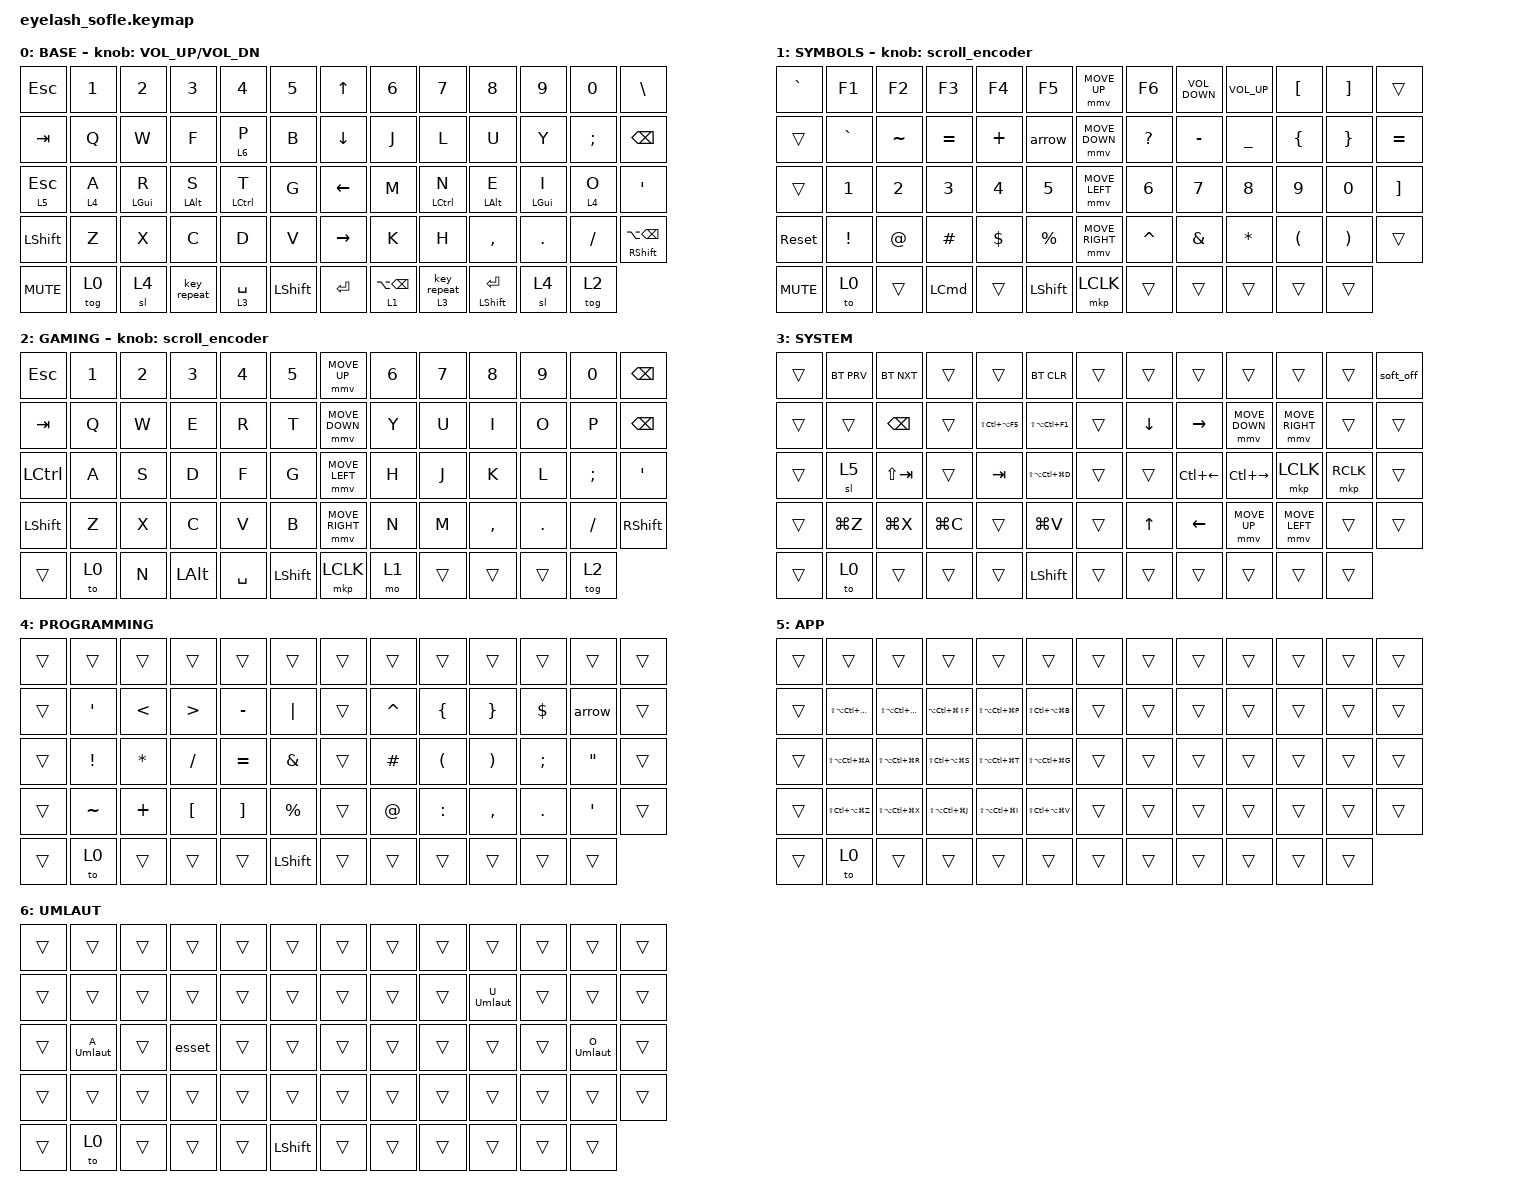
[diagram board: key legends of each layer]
#define ZMK_POINTING_DEFAULT_MOVE_VAL 1200  // 600
#define ZMK_POINTING_DEFAULT_SCRL_VAL 25   // 10

#include <input/processors.dtsi>
#include <zephyr/dt-bindings/input/input-event-codes.h>
#include <behaviors/unicode.dtsi>
#include <behaviors.dtsi>
#include <dt-bindings/zmk/bt.h>
#include <dt-bindings/zmk/keys.h>
#include <dt-bindings/zmk/pointing.h>

&mmv_input_listener { input-processors = <&zip_xy_scaler 2 1>; };

&msc_input_listener { input-processors = <&zip_scroll_scaler 2 1>; };

&msc {
    acceleration-exponent = <1>;      // 0
    time-to-max-speed-ms = <100>;       // 300
    delay-ms = <0>;                   // 0
};

&mmv {
    time-to-max-speed-ms = <500>;
    acceleration-exponent = <1>;
    trigger-period-ms = <16>;
};

&uc {
    default-mode = <UC_MODE_MACOS>;  // Replace with desired input system.
    minimum-length = <4>;
};

/ {
    scroll_encoder: scroll_encoder {
        compatible = "zmk,behavior-sensor-rotate";
        #sensor-binding-cells = <0>;
        bindings = <&msc SCRL_DOWN>, <&msc SCRL_UP>;

        tap-ms = <100>;
    };

    homerowshiftright: homerowshiftright {
        compatible = "zmk,behavior-hold-tap";
        label = "HOMEROWSHIFTRIGHT";
        bindings = <&kp>, <&kp>;

        #binding-cells = <2>;
        tapping-term-ms = <200>;
        hold-while-undecided;
        hold-trigger-key-positions = <0 1 2 3 4 5 0 1 13 14 15 16 17 18 13 14 26 27 28 29 30 31 39 40 41 42 43 44 53 54 55 56 57>;
        hold-trigger-on-release;
        flavor = "balanced";
    };

    homerowshiftleft: homerowshiftleft {
        compatible = "zmk,behavior-hold-tap";
        label = "HOMEROWSHIFTLEFT";
        bindings = <&kp>, <&kp>;

        #binding-cells = <2>;
        tapping-term-ms = <200>;
        hold-while-undecided;
        hold-trigger-on-release;
        hold-trigger-key-positions = <7 8 9 10 11 12 20 21 22 23 24 25 33 34 35 36 37 38 46 47 48 49 50 51 59 60 61 62 63>;
        flavor = "balanced";
    };

    homerowright: homerowright {
        compatible = "zmk,behavior-hold-tap";
        label = "HOMEROWRIGHT";
        bindings = <&kp>, <&kp>;

        #binding-cells = <2>;
        tapping-term-ms = <300>;
        flavor = "tap-preferred";
        quick-tap-ms = <250>;
    };

    homerowleft: homerowleft {
        compatible = "zmk,behavior-hold-tap";
        label = "HOMEROWLEFT";
        bindings = <&kp>, <&kp>;

        #binding-cells = <2>;
        tapping-term-ms = <300>;
        flavor = "tap-preferred";
        quick-tap-ms = <250>;
    };

    holdmod: holdmod {
        compatible = "zmk,behavior-hold-tap";
        label = "HOLDMOD";
        bindings = <&mo>, <&kp>;

        #binding-cells = <2>;
        tapping-term-ms = <200>;
        flavor = "tap-preferred";
        quick-tap-ms = <150>;
    };

    homerow_repeat: homerow_repeat {
        compatible = "zmk,behavior-hold-tap";
        label = "HOMEROW_REPEAT";
        bindings = <&mo>, <&key_repeat>;

        #binding-cells = <2>;
        tapping-term-ms = <300>;
        flavor = "tap-preferred";
        quick-tap-ms = <250>;
    };

    A_Umlaut: A_Umlaut {
        compatible = "zmk,behavior-mod-morph";
        label = "A_UMLAUT";
        bindings = <&umlaut A>, <&umlaut LS(A)>;

        #binding-cells = <0>;
        mods = <(MOD_LSFT|MOD_RSFT)>;
    };

    O_Umlaut: O_Umlaut {
        compatible = "zmk,behavior-mod-morph";
        label = "O_UMLAUT";
        bindings = <&umlaut O>, <&umlaut LS(O)>;

        #binding-cells = <0>;
        mods = <(MOD_LSFT|MOD_RSFT)>;
    };

    U_Umlaut: U_Umlaut {
        compatible = "zmk,behavior-mod-morph";
        label = "U_UMLAUT";
        bindings = <&umlaut U>, <&umlaut LS(U)>;

        #binding-cells = <0>;
        mods = <(MOD_LSFT|MOD_RSFT)>;
    };

    behaviors {
    };

    combos {
        compatible = "zmk,combos";

        softoff {
            bindings = <&soft_off>;
            key-positions = <14 28 40>;
        };
    };

    macros {
        arrow: arrow {
            compatible = "zmk,behavior-macro";
            #binding-cells = <0>;
            bindings = <&kp SEMICOLON &kp SEMICOLON &kp A &kp R &kp R &kp O &kp W &kp SPACE &kp BACKSPACE>;
            label = "ARROW";
        };

        umlaut: umlaut {
            compatible = "zmk,behavior-macro-one-param";
            #binding-cells = <1>;
            bindings = <&macro_param_1to1 &kp MACRO_PLACEHOLDER &kp CARET &kp PERIOD &kp PERIOD>;
            label = "UMLAUT";
        };

        esset: esset {
            compatible = "zmk,behavior-macro";
            #binding-cells = <0>;
            bindings = <&kp S &kp S &kp CARET>;
            label = "ESSET";
        };
    };

    keymap {
        compatible = "zmk,keymap";

        base {
            bindings = <
&kp ESC       &kp N1        &kp N2                   &kp N3                   &kp N4                       &kp N5            &kp UP_ARROW     &kp N6                    &kp N7                        &kp N8                          &kp N9                    &kp N0        &kp BACKSLASH
&kp TAB       &kp Q         &kp W                    &kp F                    &holdmod 6 P                 &kp B             &kp DOWN_ARROW   &kp J                     &kp L                         &kp U                           &kp Y                     &kp SEMI      &kp BACKSPACE
&lt 5 ESCAPE  &holdmod 4 A  &homerowleft LEFT_GUI R  &homerowleft LEFT_ALT S  &homerowleft LEFT_CONTROL T  &kp G             &kp LEFT_ARROW   &kp M                     &homerowright LEFT_CONTROL N  &homerowright LEFT_ALT E        &homerowright LEFT_GUI I  &holdmod 4 O  &kp APOS
&kp LSHFT     &kp Z         &kp X                    &kp C                    &kp D                        &kp V             &kp RIGHT_ARROW  &kp K                     &kp H                         &kp COMMA                       &kp DOT                   &kp FSLH      &homerowright RIGHT_SHIFT LA(BACKSPACE)
&kp C_MUTE    &tog 0        &sl 4                    &key_repeat              &holdmod 3 SPACE             &kp LEFT_SHIFT    &kp ENTER        &holdmod 1 LA(BACKSPACE)  &homerow_repeat 3 0           &homerowright LEFT_SHIFT ENTER  &sl 4                     &tog 2
            >;

            sensor-bindings = <&inc_dec_kp C_VOLUME_UP C_VOL_DN>;
            display-name = "BASE";
        };

        symbols {
            bindings = <
&kp GRAVE   &kp F1           &kp F2        &kp F3            &kp F4        &kp F5            &mmv MOVE_UP     &kp F6        &kp C_VOLUME_DOWN  &kp C_VOLUME_UP  &kp LEFT_BRACKET      &kp RIGHT_BRACKET      &trans
&trans      &kp GRAVE        &kp TILDE     &kp EQUAL         &kp PLUS      &arrow            &mmv MOVE_DOWN   &kp QUESTION  &kp MINUS          &kp UNDERSCORE   &kp LEFT_BRACE        &kp RIGHT_BRACE        &kp EQUAL
&trans      &kp NUMBER_1     &kp NUMBER_2  &kp NUMBER_3      &kp NUMBER_4  &kp N5            &mmv MOVE_LEFT   &kp NUMBER_6  &kp N7             &kp N8           &kp N9                &kp N0                 &kp RIGHT_BRACKET
&sys_reset  &kp EXCLAMATION  &kp AT_SIGN   &kp HASH          &kp DOLLAR    &kp PERCENT       &mmv MOVE_RIGHT  &kp CARET     &kp AMPERSAND      &kp ASTERISK     &kp LEFT_PARENTHESIS  &kp RIGHT_PARENTHESIS  &trans
&kp C_MUTE  &to 0            &trans        &kp LEFT_COMMAND  &trans        &kp LEFT_SHIFT    &mkp LCLK        &trans        &trans             &trans           &trans                &trans
            >;

            display-name = "SYMBOLS";
            sensor-bindings = <&scroll_encoder>;
        };

        gaming {
            bindings = <
&kp ESCAPE        &kp NUMBER_1  &kp NUMBER_2  &kp NUMBER_3  &kp NUMBER_4  &kp N5            &mmv MOVE_UP     &kp NUMBER_6  &kp N7  &kp N8     &kp N9      &kp N0         &kp BACKSPACE
&kp TAB           &kp Q         &kp W         &kp E         &kp R         &kp T             &mmv MOVE_DOWN   &kp Y         &kp U   &kp I      &kp O       &kp P          &kp BACKSPACE
&kp LEFT_CONTROL  &kp A         &kp S         &kp D         &kp F         &kp G             &mmv MOVE_LEFT   &kp H         &kp J   &kp K      &kp L       &kp SEMICOLON  &kp SQT
&kp LEFT_SHIFT    &kp Z         &kp X         &kp C         &kp V         &kp B             &mmv MOVE_RIGHT  &kp N         &kp M   &kp COMMA  &kp PERIOD  &kp SLASH      &kp RIGHT_SHIFT
&trans            &to 0         &kp N         &kp LEFT_ALT  &kp SPACE     &kp LEFT_SHIFT    &mkp LCLK        &mo 1         &trans  &trans     &trans      &tog 2
            >;

            sensor-bindings = <&scroll_encoder>;
            label = "GAMING";
        };

        system {
            bindings = <
&trans  &bt BT_PRV  &bt BT_NXT     &trans     &trans              &bt BT_CLR               &trans  &trans        &trans          &trans          &trans           &trans     &soft_off
&trans  &trans      &kp BACKSPACE  &trans     &kp LS(LC(LA(F5)))  &kp LS(LA(LC(F1)))       &trans  &kp DOWN      &kp RIGHT       &mmv MOVE_DOWN  &mmv MOVE_RIGHT  &trans     &trans
&trans  &sl 5       &kp LS(TAB)    &trans     &kp TAB             &kp LS(LA(LC(LG(D))))    &trans  &trans        &kp LC(LEFT)    &kp LC(RIGHT)   &mkp LCLK        &mkp RCLK  &trans
&trans  &kp LG(Z)   &kp LG(X)      &kp LG(C)  &trans              &kp LG(V)                &trans  &kp UP_ARROW  &kp LEFT_ARROW  &mmv MOVE_UP    &mmv MOVE_LEFT   &trans     &trans
&trans  &to 0       &trans         &trans     &trans              &kp LEFT_SHIFT           &trans  &trans        &trans          &trans          &trans           &trans
            >;

            label = "SYSTEM";
        };

        programming {
            bindings = <
&trans  &trans           &trans         &trans            &trans             &trans            &trans  &trans     &trans                &trans                 &trans         &trans             &trans
&trans  &kp SQT          &kp LESS_THAN  &kp GREATER_THAN  &kp MINUS          &kp PIPE          &trans  &kp CARET  &kp LEFT_BRACE        &kp RIGHT_BRACE        &kp DOLLAR     &arrow             &trans
&trans  &kp EXCLAMATION  &kp ASTERISK   &kp SLASH         &kp EQUAL          &kp AMPERSAND     &trans  &kp HASH   &kp LEFT_PARENTHESIS  &kp RIGHT_PARENTHESIS  &kp SEMICOLON  &kp DOUBLE_QUOTES  &trans
&trans  &kp TILDE        &kp PLUS       &kp LEFT_BRACKET  &kp RIGHT_BRACKET  &kp PERCENT       &trans  &kp AT     &kp COLON             &kp COMMA              &kp PERIOD     &kp SQT            &trans
&trans  &to 0            &trans         &trans            &trans             &kp LEFT_SHIFT    &trans  &trans     &trans                &trans                 &trans         &trans
            >;

            label = "PROGRAMMING";
        };

        app {
            bindings = <
&trans  &trans                 &trans                 &trans                 &trans                 &trans                   &trans  &trans  &trans  &trans  &trans  &trans  &trans
&trans  &kp LS(LA(LC(LG(Q))))  &kp LS(LA(LC(LG(W))))  &kp LA(LC(LG(LS(F))))  &kp LS(LA(LC(LG(P))))  &kp LS(LC(LA(LG(B))))    &trans  &trans  &trans  &trans  &trans  &trans  &trans
&trans  &kp LS(LA(LC(LG(A))))  &kp LS(LA(LC(LG(R))))  &kp LS(LC(LA(LG(S))))  &kp LS(LA(LC(LG(T))))  &kp LS(LA(LC(LG(G))))    &trans  &trans  &trans  &trans  &trans  &trans  &trans
&trans  &kp LS(LC(LA(LG(Z))))  &kp LS(LA(LC(LG(X))))  &kp LS(LA(LC(LG(J))))  &kp LS(LA(LC(LG(I))))  &kp LS(LC(LA(LG(V))))    &trans  &trans  &trans  &trans  &trans  &trans  &trans
&trans  &to 0                  &trans                 &trans                 &trans                 &trans                   &trans  &trans  &trans  &trans  &trans  &trans
            >;

            label = "APP";
        };

        umlaut {
            bindings = <
&trans  &trans     &trans  &trans  &trans  &trans            &trans  &trans  &trans  &trans     &trans  &trans     &trans
&trans  &trans     &trans  &trans  &trans  &trans            &trans  &trans  &trans  &U_Umlaut  &trans  &trans     &trans
&trans  &A_Umlaut  &trans  &esset  &trans  &trans            &trans  &trans  &trans  &trans     &trans  &O_Umlaut  &trans
&trans  &trans     &trans  &trans  &trans  &trans            &trans  &trans  &trans  &trans     &trans  &trans     &trans
&trans  &to 0      &trans  &trans  &trans  &kp LEFT_SHIFT    &trans  &trans  &trans  &trans     &trans  &trans
            >;

            label = "UMLAUT";
        };
    };
};
